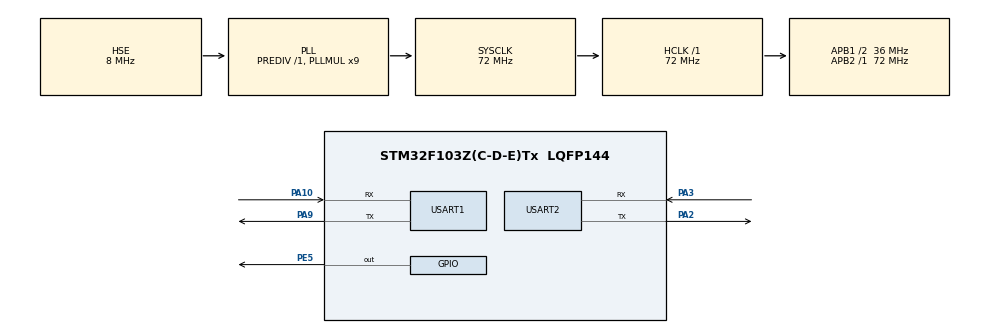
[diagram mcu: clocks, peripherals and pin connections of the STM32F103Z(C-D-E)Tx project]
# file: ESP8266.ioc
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Mcu.Family=STM32F1
Mcu.Name=STM32F103Z(C-D-E)Tx
Mcu.Package=LQFP144
NVIC.PriorityGroup=NVIC_PRIORITYGROUP_4
NVIC.USART1_IRQn=true\:0\:0\:false\:false\:true\:true\:true
NVIC.USART2_IRQn=true\:0\:0\:false\:false\:true\:true\:true
OSC_IN.Mode=HSE-External-Oscillator
OSC_IN.Signal=RCC_OSC_IN
OSC_OUT.Mode=HSE-External-Oscillator
OSC_OUT.Signal=RCC_OSC_OUT
PA10.Mode=Asynchronous
PA10.Signal=USART1_RX
PA13.Mode=Serial_Wire
PA13.Signal=SYS_JTMS-SWDIO
PA14.Mode=Serial_Wire
PA14.Signal=SYS_JTCK-SWCLK
PA2.Mode=Asynchronous
PA2.Signal=USART2_TX
PA3.Mode=Asynchronous
PA3.Signal=USART2_RX
PA9.Mode=Asynchronous
PA9.Signal=USART1_TX
PE5.Signal=GPIO_Output
ProjectManager.HeapSize=0x200
ProjectManager.StackSize=0x400
ProjectManager.TargetToolchain=MDK-ARM V5.32
RCC.AHBFreq_Value=72000000
RCC.APB1CLKDivider=RCC_HCLK_DIV2
RCC.APB1Freq_Value=36000000
RCC.APB1TimFreq_Value=72000000
RCC.APB2Freq_Value=72000000
RCC.APB2TimFreq_Value=72000000
RCC.HCLKFreq_Value=72000000
RCC.PLLMUL=RCC_PLL_MUL9
RCC.PLLSourceVirtual=RCC_PLLSOURCE_HSE
RCC.SYSCLKFreq_VALUE=72000000
RCC.SYSCLKSource=RCC_SYSCLKSOURCE_PLLCLK
RCC.USBFreq_Value=72000000
USART1.VirtualMode=VM_ASYNC
USART2.VirtualMode=VM_ASYNC
board=custom

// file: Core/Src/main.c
/* USER CODE BEGIN Header */
/**
  ******************************************************************************
  * @file           : main.c
  * @brief          : Main program body
  ******************************************************************************
  * @attention
  *
  * Copyright (c) 2023 STMicroelectronics.
  * All rights reserved.
  *
  * This software is licensed under terms that can be found in the LICENSE file
  * in the root directory of this software component.
  * If no LICENSE file comes with this software, it is provided AS-IS.
  *
  ******************************************************************************
  */
/* USER CODE END Header */
#include "main.h"
#include "usart.h"
#include "gpio.h"

/* USER CODE BEGIN Includes */

#include <string.h>
#include "My_esp8266.h"
/* USER CODE END Includes */

/* USER CODE BEGIN PV */
#define RXBUFFERSIZE  256     //最大接收字节数
char RxBuffer[RXBUFFERSIZE];   //接收数据
uint8_t aRxBuffer;			//接收中断缓冲
uint8_t Uart2_Rx_Cnt = 0;		//接收缓冲计数
uint8_t my_test_v = 0 ;
char my_order[15]={0};
char receive_flag=0;
/* USER CODE END PV */

void SystemClock_Config(void);

int main(void)
{

  /* MCU Configuration--------------------------------------------------------*/

  /* Reset of all peripherals, Initializes the Flash interface and the Systick. */
  HAL_Init();

  /* Configure the system clock */
  SystemClock_Config();

  /* Initialize all configured peripherals */
  MX_GPIO_Init();
  MX_USART1_UART_Init();
  MX_USART2_UART_Init();
  /* USER CODE BEGIN 2 */

	HAL_GPIO_WritePin(GPIOE,GPIO_PIN_5,GPIO_PIN_RESET );
	HAL_UART_Receive_IT(&huart2, (uint8_t *)&aRxBuffer, 1);
	esp8266_start_trans();
  /* USER CODE END 2 */

  /* Infinite loop */
  /* USER CODE BEGIN WHILE */
  while (1)
  {
	 //     HAL_Delay(20);
	if(receive_flag)
	{
		receive_flag=0;
		if(strstr((const char*)my_order,(const char*)"<on>")) //输入on，LED0亮
		{
			Uart2_Rx_Cnt=0;
			memset(RxBuffer,0x00,sizeof(RxBuffer)); //清空数组
			memset(RxBuffer,0x00,sizeof(my_order)); //清空数组
			my_test_v=1;
		}
		else if(strstr((const char*)my_order,(const char*)"<off>"))
		{
			Uart2_Rx_Cnt=0;
			memset(RxBuffer,0x00,sizeof(RxBuffer)); //清空数组
			memset(RxBuffer,0x00,sizeof(my_order)); //清空数组
		  my_test_v=0;
		}
		else
			{
			Uart2_Rx_Cnt=0;
			memset(RxBuffer,0x00,sizeof(RxBuffer)); //清空数组
			memset(RxBuffer,0x00,sizeof(my_order)); //清空数组

		}

 	}
		if(my_test_v==1)
		{
			HAL_GPIO_WritePin(GPIOE,GPIO_PIN_5,GPIO_PIN_RESET );
		}

		else
		{
			HAL_GPIO_WritePin(GPIOE,GPIO_PIN_5,GPIO_PIN_SET );
		}

    /* USER CODE END WHILE */

  }
}

void SystemClock_Config(void)
{
  RCC_OscInitTypeDef RCC_OscInitStruct = {0};
  RCC_ClkInitTypeDef RCC_ClkInitStruct = {0};

  /** Initializes the RCC Oscillators according to the specified parameters
  * in the RCC_OscInitTypeDef structure.
  */
  RCC_OscInitStruct.OscillatorType = RCC_OSCILLATORTYPE_HSE;
  RCC_OscInitStruct.HSEState = RCC_HSE_ON;
  RCC_OscInitStruct.HSEPredivValue = RCC_HSE_PREDIV_DIV1;
  RCC_OscInitStruct.HSIState = RCC_HSI_ON;
  RCC_OscInitStruct.PLL.PLLState = RCC_PLL_ON;
  RCC_OscInitStruct.PLL.PLLSource = RCC_PLLSOURCE_HSE;
  RCC_OscInitStruct.PLL.PLLMUL = RCC_PLL_MUL9;
  if (HAL_RCC_OscConfig(&RCC_OscInitStruct) != HAL_OK)
  {
    Error_Handler();
  }
  /** Initializes the CPU, AHB and APB buses clocks
  */
  RCC_ClkInitStruct.ClockType = RCC_CLOCKTYPE_HCLK|RCC_CLOCKTYPE_SYSCLK
                              |RCC_CLOCKTYPE_PCLK1|RCC_CLOCKTYPE_PCLK2;
  RCC_ClkInitStruct.SYSCLKSource = RCC_SYSCLKSOURCE_PLLCLK;
  RCC_ClkInitStruct.AHBCLKDivider = RCC_SYSCLK_DIV1;
  RCC_ClkInitStruct.APB1CLKDivider = RCC_HCLK_DIV2;
  RCC_ClkInitStruct.APB2CLKDivider = RCC_HCLK_DIV1;

  if (HAL_RCC_ClockConfig(&RCC_ClkInitStruct, FLASH_LATENCY_2) != HAL_OK)
  {
    Error_Handler();
  }
}

/* USER CODE BEGIN 4 */
void HAL_UART_RxCpltCallback(UART_HandleTypeDef *huart)
{
  /* Prevent unused argument(s) compilation warning */
  UNUSED(huart);
  /* NOTE: This function Should not be modified, when the callback is needed,
           the HAL_UART_TxCpltCallback could be implemented in the user file
   */

	if(Uart2_Rx_Cnt >= 255)  //溢出判断
	{
		Uart2_Rx_Cnt = 0;
		memset(RxBuffer,0x00,sizeof(RxBuffer));
	}
	else
	{
		static uint8_t Uart2_count=0;

		RxBuffer[Uart2_Rx_Cnt] = aRxBuffer;   //接收数据转存
		if(receive_flag==0)
		{
			if(RxBuffer[Uart2_Rx_Cnt-Uart2_count]=='<')
			{
				Uart2_count++;
				if((RxBuffer[Uart2_Rx_Cnt]=='>')||Uart2_count>=14)
				{
					uint8_t My_i=0;
					for(int i=Uart2_Rx_Cnt-Uart2_count+1;i<Uart2_Rx_Cnt+1;i++)
					my_order[My_i++]=RxBuffer[i];
					receive_flag=1;
					Uart2_count=0;
				}
			}
		}
		Uart2_Rx_Cnt++;
	}

	HAL_UART_Receive_IT(&huart2, (uint8_t *)&aRxBuffer, 1);   //再开启接收中断
}
/* USER CODE END 4 */

void Error_Handler(void)
{
  __disable_irq();
  while (1)
  {
  }
}
